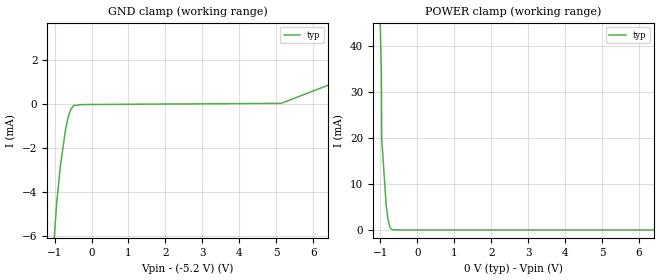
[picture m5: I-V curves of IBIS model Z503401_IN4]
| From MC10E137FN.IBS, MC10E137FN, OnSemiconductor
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| (C) COPYRIGHT 1993-2000
| MENTOR GRAPHICS CORPORATION
| ICX STANDARD LIBRARY, ICX PROJECT MODELING,
| ICX CUSTOM MODELING, ICX VENDOR MODEL
| ALL RIGHTS RESERVED.
| THE FOLLOWING ARE TRADEMARKS OR SERVICE MARKS OF
| MENTOR GRAPHICS CORPORATION:ICX (R), ICX STANDARD
| LIBRARY(R), ICX PROJECT MODELING(R), ICX CUSTOM
| MODELING(R), qualityIBIS(TM), MODELVIEWER(TM),
| AND MODELEDITOR(TM)
| ALL COPIES OF SOFTWARE, INCLUDING BUT NOT LIMITED TO
| ANY MODIFICATIONS, ENHANCEMENTS OR DERIVATIVE WORKS,
| MUST CONTAIN ALL MENTOR GRAPHICS CORPORATION'S
| NOTICES AND LEGENDS, INCLUDING THOSE EMBEDDED IN
| SOFTWARE AND THOSE AFFIXED TO SOFTWARE MEDIUM
| AND CONTAINER, AS RECEIVED FROM MENTOR GRAPHICS
| CORPORATION.
| Model Application Version 1.89 2/18/99.
[Model] Z503401_IN4
Model_type Input_ECL
Vinl = -1.480V
Vinh = -1.130V
C_comp 4.000pF NA NA
| variable typ   min   max
[Voltage Range] -5.200V NA NA
[GND Clamp Reference] -5.200V NA NA
[POWER Clamp Reference] 0.000V NA NA
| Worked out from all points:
|   GND clamp passes 1 mA (typ) near -0.68 V on its own axis
|   POWER clamp passes 1 mA (typ) near -0.75 V on its own axis
[GND Clamp]
-5.2V     -209.3mA   NA         NA
-1.069V   -7.472mA   NA         NA
-943mV    -4.515mA   NA         NA
-839mV    -2.757mA   NA         NA
-696mV    -1.086mA   NA         NA
-623mV    -541.1uA   NA         NA
-567mV    -256.4uA   NA         NA
-485mV    -63.09uA   NA         NA
-242.5mV  -16.88uA   NA         NA
5.132V    38.75uA    NA         NA
10.4V     3.465mA    NA         NA
[POWER Clamp]
-5.2V     1.589A     NA         NA
-972.5mV  33.24mA    NA         NA
-964.3mV  19.76mA    NA         NA
-844.7mV  5.548mA    NA         NA
-798.5mV  2.421mA    NA         NA
-740.5mV  551.3uA    NA         NA
-700.8mV  177uA      NA         NA
-663.9mV  39.9uA     NA         NA
-332mV    0A         NA         NA
10.4V     0A         NA         NA
